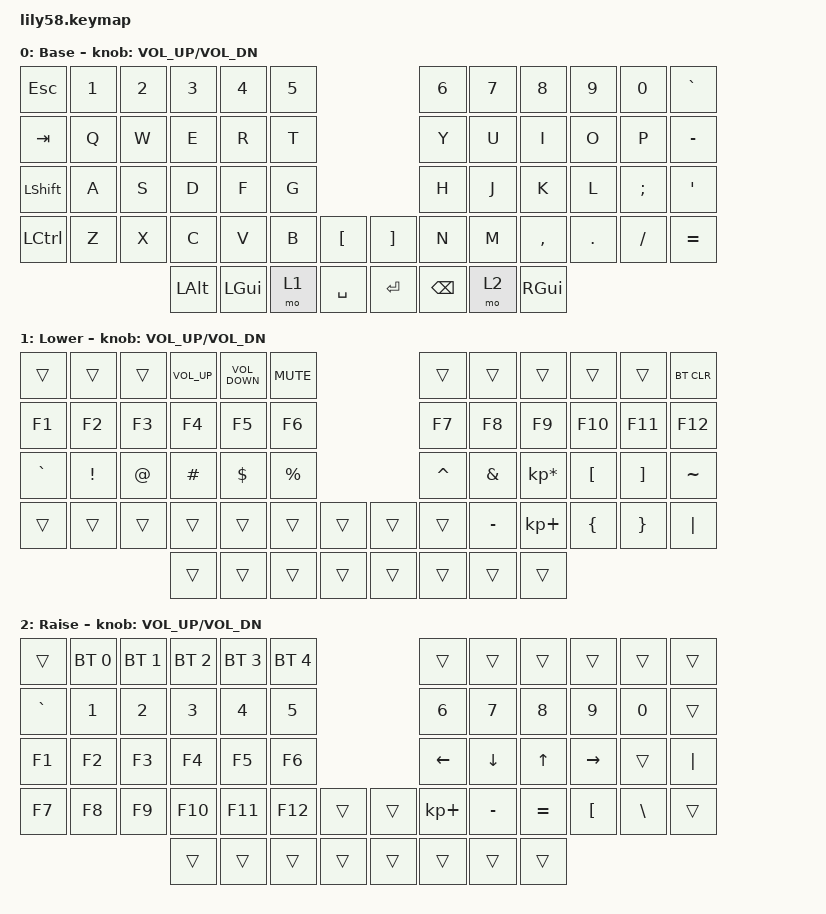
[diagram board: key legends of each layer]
/*
 * Copyright (c) 2020 The ZMK Contributors
 *
 * SPDX-License-Identifier: MIT
 */

#include <behaviors.dtsi>
#include <dt-bindings/zmk/bt.h>
#include <dt-bindings/zmk/keys.h>

/ {
    keymap {
        compatible = "zmk,keymap";

        default_layer {
            // ------------------------------------------------------------------------------------------------------------
            // |  ESC  |  1  |  2  |  3   |  4   |  5   |                   |  6   |  7    |  8    |  9   |   0   |   `   |
            // |  TAB  |  Q  |  W  |  E   |  R   |  T   |                   |  Y   |  U    |  I    |  O   |   P   |   -   |
            // |  CTRL |  A  |  S  |  D   |  F   |  G   |                   |  H   |  J    |  K    |  L   |   ;   |   '   |
            // | SHIFT |  Z  |  X  |  C   |  V   |  B   |   "["  |  |  "]"  |  N   |  M    |  ,    |  .   |   /   | SHIFT |
            //                     | ALT  | GUI  | LOWER|  SPACE |  | ENTER | RAISE| BSPC  | GUI   |

            display-name = "Base";
            bindings = <
&kp ESC         &kp N1  &kp N2  &kp N3    &kp N4    &kp N5                         &kp N6         &kp N7  &kp N8     &kp N9   &kp N0    &kp GRAVE
&kp TAB         &kp Q   &kp W   &kp E     &kp R     &kp T                          &kp Y          &kp U   &kp I      &kp O    &kp P     &kp MINUS
&kp LEFT_SHIFT  &kp A   &kp S   &kp D     &kp F     &kp G                          &kp H          &kp J   &kp K      &kp L    &kp SEMI  &kp SQT
&kp LCTRL       &kp Z   &kp X   &kp C     &kp V     &kp B   &kp LBKT     &kp RBKT  &kp N          &kp M   &kp COMMA  &kp DOT  &kp FSLH  &kp EQUAL
                                &kp LALT  &kp LGUI  &mo 1   &kp SPACE    &kp RET   &kp BACKSPACE  &mo 2   &kp RGUI
            >;

            sensor-bindings = <&inc_dec_kp C_VOL_UP C_VOL_DN>;
        };

        lower_layer {
            // ------------------------------------------------------------------------------------------------------------
            // | BTCLR | BT1 | BT2 |  BT3 |  BT4 |  BT5 |                   |      |       |       |      |       |       |
            // |  F1   |  F2 |  F3 |  F4  |  F5  |  F6  |                   |  F7  |  F8   |  F9   |  F10 |  F11  |  F12  |
            // |   `   |  !  |  @  |  #   |  $   |  %   |                   |  ^   |  &    |  *    |  (   |   )   |   ~   |
            // |       |     |     |      |      |      |        |  |       |      |  _    |  +    |  {   |   }   |  "|"  |
            //                     |      |      |      |        |  |       |      |       |       |

            display-name = "Lower";
            bindings = <
&trans     &trans    &trans  &kp C_VOLUME_UP  &kp C_VOLUME_DOWN  &kp K_MUTE                    &trans     &trans     &trans           &trans            &trans             &bt BT_CLR
&kp F1     &kp F2    &kp F3  &kp F4           &kp F5             &kp F6                        &kp F7     &kp F8     &kp F9           &kp F10           &kp F11            &kp F12
&kp GRAVE  &kp EXCL  &kp AT  &kp HASH         &kp DOLLAR         &kp PRCNT                     &kp CARET  &kp AMPS   &kp KP_MULTIPLY  &kp LEFT_BRACKET  &kp RIGHT_BRACKET  &kp TILDE
&trans     &trans    &trans  &trans           &trans             &trans      &trans    &trans  &trans     &kp MINUS  &kp KP_PLUS      &kp LBRC          &kp RBRC           &kp PIPE
                             &trans           &trans             &trans      &trans    &trans  &trans     &trans     &trans
            >;

            sensor-bindings = <&inc_dec_kp C_VOL_UP C_VOL_DN>;
        };

        raise_layer {
            // ------------------------------------------------------------------------------------------------------------
            // |       |     |     |      |      |      |                   |      |       |       |      |       |       |
            // |   `   |  1  |  2  |  3   |  4   |  5   |                   |  6   |   7   |   8   |  9   |   0   |       |
            // |   F1  |  F2 |  F3 |  F4  |  F5  |  F6  |                   |      |   <-  |   v   |  ^   |  ->   |       |
            // |   F7  |  F8 |  F9 |  F10 |  F11 |  F12 |        |  |       |  +   |   -   |   =   |  [   |   ]   |   \   |
            //                     |      |      |      |        |  |       |      |       |       |

            display-name = "Raise";
            bindings = <
&trans     &bt BT_SEL 0  &bt BT_SEL 1  &bt BT_SEL 2  &bt BT_SEL 3  &bt BT_SEL 4                    &trans       &trans     &trans        &trans     &trans         &trans
&kp GRAVE  &kp N1        &kp N2        &kp N3        &kp N4        &kp N5                          &kp N6       &kp N7     &kp N8        &kp N9     &kp N0         &trans
&kp F1     &kp F2        &kp F3        &kp F4        &kp F5        &kp F6                          &kp LEFT     &kp DOWN   &kp UP_ARROW  &kp RIGHT  &trans         &kp PIPE
&kp F7     &kp F8        &kp F9        &kp F10       &kp F11       &kp F12       &trans    &trans  &kp KP_PLUS  &kp MINUS  &kp EQUAL     &kp LBKT   &kp BACKSLASH  &trans
                                       &trans        &trans        &trans        &trans    &trans  &trans       &trans     &trans
            >;

            sensor-bindings = <&inc_dec_kp C_VOL_UP C_VOL_DN>;
        };

        extra_1 { status = "reserved"; };

        extra_2 { status = "reserved"; };

        extra_3 { status = "reserved"; };
    };
};
